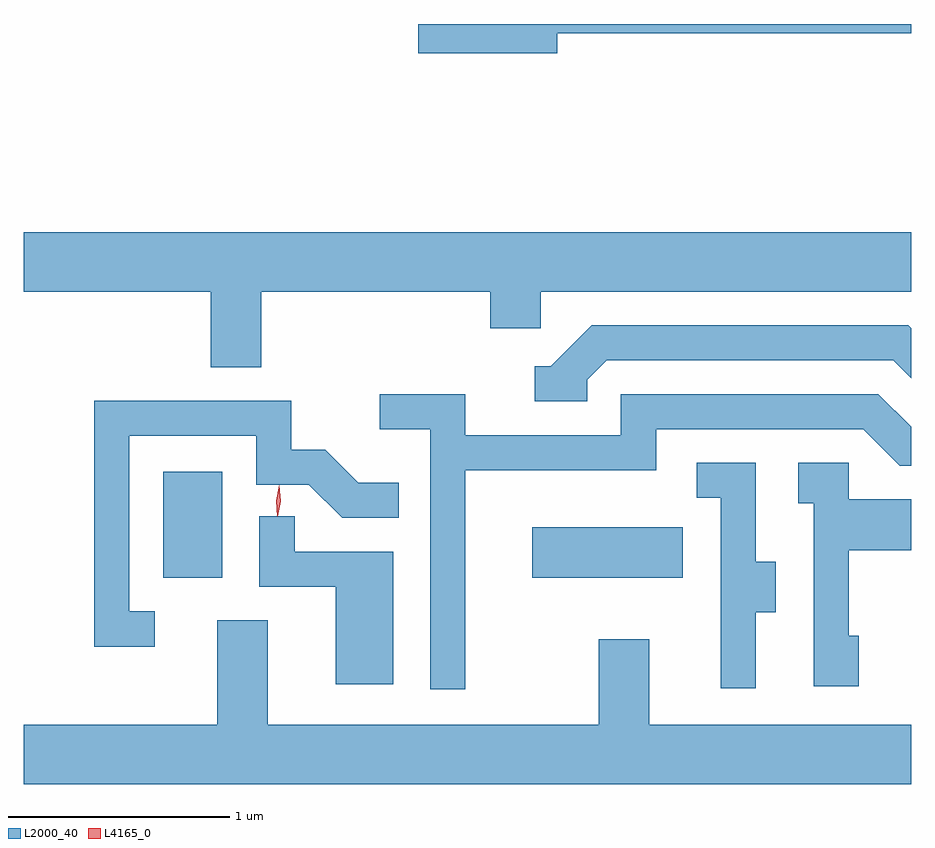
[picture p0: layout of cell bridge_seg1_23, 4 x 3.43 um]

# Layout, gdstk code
import gdstk
lib = gdstk.Library(unit=1e-6, precision=1e-09)
def R(c, l, rs):  # rectangles x0, y0, x1, y1
    for r in rs: c.add(gdstk.rectangle(r[:2], r[2:], *l))
def P(c, l, *ps):  # polygons
    for p in ps: c.add(gdstk.Polygon(p, *l))
L2000_40 = (2000, 40)
L4165_0 = (4165, 0)

bridge_seg1_23 = lib.new_cell('bridge_seg1_23')
R(bridge_seg1_23, L2000_40, [(1506.526,967.106,1506.794,967.584), (1508.191,967.106,1508.869,967.334)])
P(bridge_seg1_23, L2000_40, [(1508.304,969.561),(1509.899,969.561),(1509.899,969.603),(1507.676,969.603),(1507.676,969.471),(1508.304,969.471)],
  [(1505.899,968.396),(1506.741,968.396),(1506.741,968.056),(1506.969,968.056),(1506.969,968.396),(1508.001,968.396),(1508.001,968.231),(1508.229,968.231),(1508.229,968.396),(1509.899,968.396),(1509.899,968.664),(1505.899,968.664)],
  [(1508.439,967.999),(1508.527,968.086),(1509.819,968.086),(1509.899,968.006),(1509.899,968.232),(1509.887,968.244),(1508.459,968.244),(1508.274,968.059),(1508.203,968.059),(1508.203,967.901),(1508.439,967.901)],
  [(1507.889,967.591),(1508.749,967.591),(1508.749,967.776),(1509.684,967.776),(1509.849,967.611),(1509.899,967.611),(1509.899,967.787),(1509.752,967.934),(1508.591,967.934),(1508.591,967.749),(1507.889,967.749),(1507.889,967.934),(1507.503,967.934),(1507.503,967.776),(1507.731,967.776),(1507.731,966.603),(1507.889,966.603)],
  [(1506.488,966.954),(1506.374,966.954),(1506.374,967.746),(1506.946,967.746),(1506.946,967.526),(1507.184,967.526),(1507.334,967.376),(1507.588,967.376),(1507.588,967.534),(1507.407,967.534),(1507.257,967.684),(1507.104,967.684),(1507.104,967.904),(1506.216,967.904),(1506.216,966.796),(1506.488,966.796)],
  [(1509.664,966.844),(1509.619,966.844),(1509.619,967.231),(1509.899,967.231),(1509.899,967.459),(1509.619,967.459),(1509.619,967.624),(1509.391,967.624),(1509.391,967.441),(1509.461,967.441),(1509.461,966.616),(1509.664,966.616)],
  [(1509.199,966.951),(1509.289,966.951),(1509.289,967.179),(1509.199,967.179),(1509.199,967.624),(1508.933,967.624),(1508.933,967.466),(1509.041,967.466),(1509.041,966.608),(1509.199,966.608)],
  [(1507.564,967.224),(1507.119,967.224),(1507.119,967.383),(1506.961,967.383),(1506.961,967.066),(1507.306,967.066),(1507.306,966.626),(1507.564,966.626)],
  [(1509.899,966.444),(1508.719,966.444),(1508.719,966.829),(1508.491,966.829),(1508.491,966.444),(1506.999,966.444),(1506.999,966.914),(1506.771,966.914),(1506.771,966.444),(1505.899,966.444),(1505.899,966.176),(1509.899,966.176)])
P(bridge_seg1_23, L4165_0, [(1507.042,967.383),(1507.042,967.383),(1507.036,967.453),(1507.05,967.522),(1507.05,967.522),(1507.05,967.522),(1507.056,967.452),(1507.043,967.383)])

lib.write_gds('bridge_seg1_23.gds')
